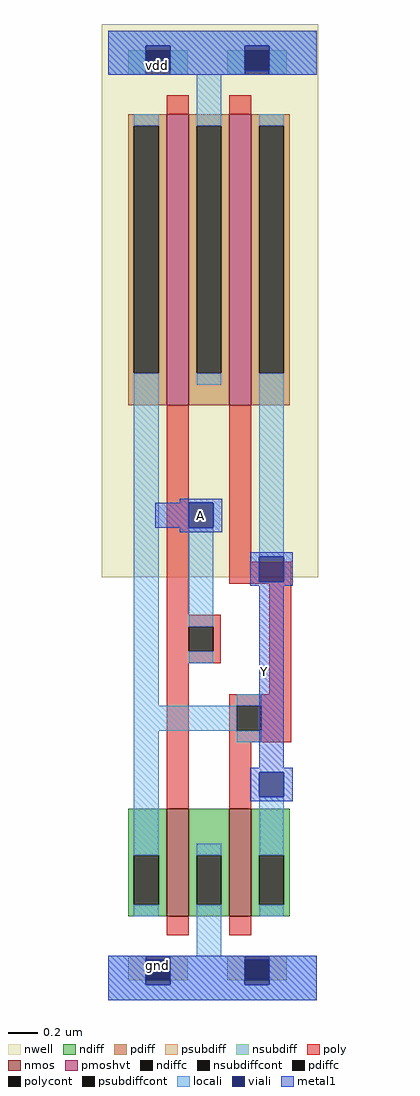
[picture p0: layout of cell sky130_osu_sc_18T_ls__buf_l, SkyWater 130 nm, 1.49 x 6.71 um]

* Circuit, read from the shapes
.subckt sky130_osu_sc_18T_ls__buf_l A Y
XM1 gnd A n1 gnd sky130_fd_pr__nfet_01v8 w=0.74 l=0.15
XM2 Y n1 gnd gnd sky130_fd_pr__nfet_01v8 w=0.74 l=0.15
XM3 vdd A n1 vdd sky130_fd_pr__pfet_01v8_hvt w=2 l=0.15
XM4 Y n1 vdd vdd sky130_fd_pr__pfet_01v8_hvt w=2 l=0.15
.ends

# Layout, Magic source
magic
tech sky130A
magscale 1 2
<< nwell >>
rect -9 581 288 1341
<< nmos >>
rect 80 115 110 263
rect 166 115 196 263
<< pmoshvt >>
rect 80 817 110 1217
rect 166 817 196 1217
<< ndiff >>
rect 27 199 80 263
rect 27 131 35 199
rect 69 131 80 199
rect 27 115 80 131
rect 110 199 166 263
rect 110 131 121 199
rect 155 131 166 199
rect 110 115 166 131
rect 196 199 249 263
rect 196 131 207 199
rect 241 131 249 199
rect 196 115 249 131
<< pdiff >>
rect 27 1201 80 1217
rect 27 861 35 1201
rect 69 861 80 1201
rect 27 817 80 861
rect 110 1201 166 1217
rect 110 861 121 1201
rect 155 861 166 1201
rect 110 817 166 861
rect 196 1201 249 1217
rect 196 861 207 1201
rect 241 861 249 1201
rect 196 817 249 861
<< ndiffc >>
rect 35 131 69 199
rect 121 131 155 199
rect 207 131 241 199
<< pdiffc >>
rect 35 861 69 1201
rect 121 861 155 1201
rect 207 861 241 1201
<< psubdiff >>
rect 27 27 51 61
rect 85 27 109 61
rect 163 27 187 61
rect 221 27 245 61
<< nsubdiff >>
rect 27 1271 51 1305
rect 85 1271 109 1305
rect 163 1271 187 1305
rect 221 1271 245 1305
<< psubdiffcont >>
rect 51 27 85 61
rect 187 27 221 61
<< nsubdiffcont >>
rect 51 1271 85 1305
rect 187 1271 221 1305
<< poly >>
rect 80 1217 110 1243
rect 166 1217 196 1243
rect 80 529 110 817
rect 166 602 196 817
rect 166 572 251 602
rect 80 513 154 529
rect 80 479 110 513
rect 144 479 154 513
rect 80 463 154 479
rect 80 263 110 463
rect 221 420 251 572
rect 166 404 251 420
rect 166 370 176 404
rect 210 370 251 404
rect 166 354 251 370
rect 166 263 196 354
rect 80 89 110 115
rect 166 89 196 115
<< polycont >>
rect 110 479 144 513
rect 176 370 210 404
<< locali >>
rect 0 1311 286 1332
rect 0 1271 51 1311
rect 85 1271 187 1311
rect 221 1271 286 1311
rect 35 1201 69 1217
rect 35 404 69 861
rect 121 1201 155 1271
rect 121 845 155 861
rect 207 1201 241 1217
rect 110 513 144 649
rect 207 609 241 861
rect 110 463 144 479
rect 176 404 210 420
rect 35 370 176 404
rect 35 199 69 370
rect 176 354 210 370
rect 35 115 69 131
rect 121 199 155 215
rect 121 61 155 131
rect 207 199 241 279
rect 207 115 241 131
rect 0 21 51 61
rect 85 21 187 61
rect 221 21 286 61
rect 0 0 286 21
<< viali >>
rect 51 1305 85 1311
rect 51 1277 85 1305
rect 187 1305 221 1311
rect 187 1277 221 1305
rect 110 649 144 683
rect 207 575 241 609
rect 207 279 241 313
rect 51 27 85 55
rect 51 21 85 27
rect 187 27 221 55
rect 187 21 221 27
<< metal1 >>
rect 0 1311 286 1332
rect 0 1277 51 1311
rect 85 1277 187 1311
rect 221 1277 286 1311
rect 0 1271 286 1277
rect 98 683 156 689
rect 64 649 110 683
rect 144 649 156 683
rect 98 643 156 649
rect 195 609 253 615
rect 195 575 207 609
rect 241 575 253 609
rect 195 569 253 575
rect 207 319 241 569
rect 195 313 253 319
rect 195 279 207 313
rect 241 279 253 313
rect 195 273 253 279
rect 0 55 286 61
rect 0 21 51 55
rect 85 21 187 55
rect 221 21 286 55
rect 0 0 286 21
<< labels >>
rlabel metal1 127 666 127 666 1 A
port 1 n
rlabel metal1 214 452 214 452 1 Y
port 2 n
rlabel viali 68 48 68 48 1 gnd
rlabel viali 68 1284 68 1284 1 vdd
<< end >>
